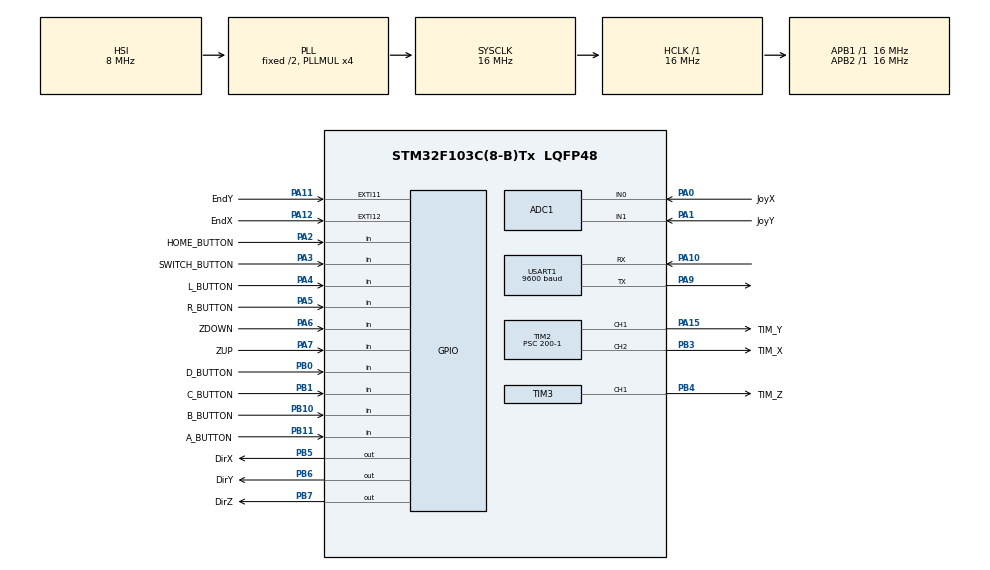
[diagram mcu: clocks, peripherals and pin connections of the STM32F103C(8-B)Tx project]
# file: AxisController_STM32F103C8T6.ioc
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ADC1.Channel-1\#ChannelRegularConversion=ADC_CHANNEL_0
ADC1.Channel-2\#ChannelRegularConversion=ADC_CHANNEL_1
ADC1.ContinuousConvMode=ENABLE
ADC1.DiscontinuousConvMode=DISABLE
ADC1.NbrOfConversion=2
ADC1.NbrOfConversionFlag=1
ADC1.Rank-1\#ChannelRegularConversion=1
ADC1.Rank-2\#ChannelRegularConversion=2
ADC1.SamplingTime-1\#ChannelRegularConversion=ADC_SAMPLETIME_55CYCLES_5
ADC1.SamplingTime-2\#ChannelRegularConversion=ADC_SAMPLETIME_55CYCLES_5
ADC1.master=1
Dma.ADC1.0.Direction=DMA_PERIPH_TO_MEMORY
Dma.ADC1.0.Instance=DMA1_Channel1
Dma.ADC1.0.MemDataAlignment=DMA_MDATAALIGN_HALFWORD
Dma.ADC1.0.MemInc=DMA_MINC_ENABLE
Dma.ADC1.0.Mode=DMA_CIRCULAR
Dma.ADC1.0.PeriphDataAlignment=DMA_PDATAALIGN_HALFWORD
Dma.ADC1.0.PeriphInc=DMA_PINC_DISABLE
Dma.ADC1.0.Priority=DMA_PRIORITY_LOW
Dma.Request0=ADC1
Mcu.Family=STM32F1
Mcu.Name=STM32F103C(8-B)Tx
Mcu.Package=LQFP48
NVIC.DMA1_Channel1_IRQn=true\:0\:0\:false\:false\:true\:false\:true\:true
NVIC.PriorityGroup=NVIC_PRIORITYGROUP_4
NVIC.TIM2_IRQn=true\:0\:0\:false\:false\:true\:true\:true\:true
NVIC.TIM3_IRQn=true\:0\:0\:false\:false\:true\:true\:true\:true
NVIC.USART1_IRQn=true\:0\:0\:false\:false\:true\:true\:true\:true
PA0-WKUP.GPIO_Label=JoyX
PA0-WKUP.Signal=ADCx_IN0
PA1.GPIO_Label=JoyY
PA1.Signal=ADCx_IN1
PA10.Mode=Asynchronous
PA10.Signal=USART1_RX
PA11.GPIO_Label=EndY
PA11.GPIO_PuPd=GPIO_PULLUP
PA11.Signal=GPXTI11
PA12.GPIO_Label=EndX
PA12.GPIO_PuPd=GPIO_PULLUP
PA12.Signal=GPXTI12
PA13.Mode=Serial_Wire
PA13.Signal=SYS_JTMS-SWDIO
PA14.Mode=Serial_Wire
PA14.Signal=SYS_JTCK-SWCLK
PA15.GPIO_Label=TIM_Y
PA15.Signal=S_TIM2_CH1_ETR
PA2.GPIO_Label=HOME_BUTTON
PA2.GPIO_PuPd=GPIO_PULLUP
PA2.Signal=GPIO_Input
PA3.GPIO_Label=SWITCH_BUTTON
PA3.GPIO_PuPd=GPIO_PULLUP
PA3.Signal=GPIO_Input
PA4.GPIO_Label=L_BUTTON
PA4.GPIO_PuPd=GPIO_PULLUP
PA4.Signal=GPIO_Input
PA5.GPIO_Label=R_BUTTON
PA5.GPIO_PuPd=GPIO_PULLUP
PA5.Signal=GPIO_Input
PA6.GPIO_Label=ZDOWN
PA6.GPIO_PuPd=GPIO_PULLUP
PA6.Signal=GPIO_Input
PA7.GPIO_Label=ZUP
PA7.GPIO_PuPd=GPIO_PULLUP
PA7.Signal=GPIO_Input
PA9.Mode=Asynchronous
PA9.Signal=USART1_TX
PB0.GPIO_Label=D_BUTTON
PB0.GPIO_PuPd=GPIO_PULLUP
PB0.Signal=GPIO_Input
PB1.GPIO_Label=C_BUTTON
PB1.GPIO_PuPd=GPIO_PULLUP
PB1.Signal=GPIO_Input
PB10.GPIO_Label=B_BUTTON
PB10.GPIO_PuPd=GPIO_PULLUP
PB10.Signal=GPIO_Input
PB11.GPIO_Label=A_BUTTON
PB11.GPIO_PuPd=GPIO_PULLUP
PB11.Signal=GPIO_Input
PB3.GPIO_Label=TIM_X
PB3.Signal=S_TIM2_CH2
PB4.GPIO_Label=TIM_Z
PB4.Signal=S_TIM3_CH1
PB5.GPIO_Label=DirX
PB5.Signal=GPIO_Output
PB6.GPIO_Label=DirY
PB6.Signal=GPIO_Output
PB7.GPIO_Label=DirZ
PB7.Signal=GPIO_Output
PD0-OSC_IN.Mode=HSE-External-Oscillator
PD0-OSC_IN.Signal=RCC_OSC_IN
PD1-OSC_OUT.Mode=HSE-External-Oscillator
PD1-OSC_OUT.Signal=RCC_OSC_OUT
ProjectManager.HeapSize=0x200
ProjectManager.StackSize=0x400
ProjectManager.TargetToolchain=STM32CubeIDE
RCC.AHBFreq_Value=16000000
RCC.APB1Freq_Value=16000000
RCC.APB1TimFreq_Value=16000000
RCC.APB2Freq_Value=16000000
RCC.APB2TimFreq_Value=16000000
RCC.HCLKFreq_Value=16000000
RCC.PLLMUL=RCC_PLL_MUL4
RCC.SYSCLKFreq_VALUE=16000000
RCC.SYSCLKSource=RCC_SYSCLKSOURCE_PLLCLK
RCC.USBFreq_Value=16000000
SH.ADCx_IN0.0=ADC1_IN0,IN0
SH.ADCx_IN1.0=ADC1_IN1,IN1
SH.S_TIM2_CH1_ETR.0=TIM2_CH1,PWM Generation1 CH1
SH.S_TIM2_CH2.0=TIM2_CH2,PWM Generation2 CH2
SH.S_TIM3_CH1.0=TIM3_CH1,PWM Generation1 CH1
TIM2.AutoReloadPreload=TIM_AUTORELOAD_PRELOAD_ENABLE
TIM2.Channel-PWM\ Generation1\ CH1=TIM_CHANNEL_1
TIM2.Channel-PWM\ Generation2\ CH2=TIM_CHANNEL_2
TIM2.Period=10-1
TIM2.Prescaler=200-1
TIM2.Pulse-PWM\ Generation1\ CH1=8-1
TIM2.Pulse-PWM\ Generation2\ CH2=8-1
TIM3.AutoReloadPreload=TIM_AUTORELOAD_PRELOAD_ENABLE
TIM3.Channel-PWM\ Generation1\ CH1=TIM_CHANNEL_1
TIM3.Period=10-1
TIM3.Prescaler=200-1
TIM3.Pulse-PWM\ Generation1\ CH1=8
USART1.BaudRate=9600
USART1.VirtualMode=VM_ASYNC
VP_TIM2_VS_ClockSourceINT.Mode=Internal
VP_TIM3_VS_ClockSourceINT.Mode=Internal
VP_TIM4_VS_ClockSourceINT.Mode=Internal
board=custom

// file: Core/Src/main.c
/* USER CODE BEGIN Header */
/*
 Code STM32 Dieu Khien 3 truc cua thay Trung

 ******************************************************************************
 */
/* USER CODE END Header */
#include "main.h"

/* USER CODE BEGIN Includes */
#include "Axis_v2.h"
#include "uart_handler.h"
#include "gcode_parser.h"
#include <string.h> // strstr
#include <stdlib.h> // atof
#include <stdio.h> // Required for sprintf
/* USER CODE END Includes */

/* USER CODE BEGIN PTD */
// Defines the main states of the machine
typedef enum {
	MACHINE_STATE_IDLE = 0, // Idle state, ready for any command
	MACHINE_STATE_BUSY = 1  // Busy state, executing a movement command
} MachineState_t;

// Defines identifiers for each button for debugging purposes
typedef enum {
	BUTTON_NONE,
	BUTTON_A,
	BUTTON_B,
	BUTTON_C,
	BUTTON_D,
	BUTTON_Z_UP,
	BUTTON_Z_DOWN,
	BUTTON_L,
	BUTTON_R,
	BUTTON_SWITCH_STOP,
} ButtonPressed_t;
/* USER CODE END PTD */

ADC_HandleTypeDef hadc1;
DMA_HandleTypeDef hdma_adc1;

TIM_HandleTypeDef htim2;
TIM_HandleTypeDef htim3;
TIM_HandleTypeDef htim4;

UART_HandleTypeDef huart1;

/* USER CODE BEGIN PV */
// Global variable for the machine's current state
volatile MachineState_t g_machineState = MACHINE_STATE_IDLE;

// ================== DEBUG VARIABLES ==================
// You can monitor these in the "Live Expressions" window of the IDE
int32_t dbg_pos_x = 0;
int32_t dbg_pos_y = 0;
int32_t dbg_pos_z = 0;
uint8_t dbg_x_is_busy = 0;
uint8_t dbg_y_is_busy = 0;
uint8_t dbg_z_is_busy = 0;
uint8_t dbg_code = 0;  // A general-purpose code for tracking execution flow

//Tracking Button Pressed
volatile ButtonPressed_t g_lastButtonPressed = BUTTON_NONE;

// ================== JOYSTICK VARIABLES ==================
uint16_t rawX, rawY;

/* USER CODE END PV */

void SystemClock_Config(void);
static void MX_GPIO_Init(void);
static void MX_DMA_Init(void);
static void MX_TIM2_Init(void);
static void MX_TIM3_Init(void);
static void MX_ADC1_Init(void);
static void MX_TIM4_Init(void);
static void MX_USART1_UART_Init(void);

/* USER CODE BEGIN 0 */
// ================== AXIS DECLARATIONS ==================
Axis_t axisX, axisY, axisZ;
// ================== PRESET POSITIONS ==================
typedef struct {
	int32_t x, y, z;
} Position_t;

Position_t posA = { 1000, 2000, -9999 };
Position_t posB = { 2000, 1000, -9999 };
Position_t posC = { 1500, 1500, -9999 };
Position_t posD = { 0, 0, -9999 };

uint32_t freq_FreeMoving = 800; // Frequency to move around
uint32_t freq_Z = 20000; // Frequency Z
// ================== HELP FUNCTION ==================
/**
 * @brief  Reads the state of a button (assumes active low).
 * @param  port: GPIO port of the button.
 * @param  pin: GPIO pin of the button.
 * @retval 1 if pressed, 0 if not pressed.
 */
static inline uint8_t ReadButton(GPIO_TypeDef *port, uint16_t pin) {
	return (HAL_GPIO_ReadPin(port, pin) == GPIO_PIN_RESET);
}

/**
 * @brief  Plans and starts a move to a preset position.
 * @param  pos: Pointer to the target position struct.
 */
void Axis_GotoPosition(Position_t *pos) {
	Axis_RunToPosConst(&axisX, pos->x);
	Axis_RunToPosConst(&axisY, pos->y);
	int32_t pos_z_temp = axisZ.current_pos_pulse;
	// Special value -9999 means "do not move Z axis"
	if (pos->z == -9999) {
		Axis_RunToPosConst(&axisZ, pos_z_temp);
	} else {
		Axis_RunToPosConst(&axisZ, pos->z);
	}
	Axis_StartAxisConst(&axisX);
	Axis_StartAxisConst(&axisY);
	Axis_StartAxisConst(&axisZ);
}

// ================== JOYSTICK SUPPORT ==================
#define JOY_DEADZONE 400
#define JOY_MAX_VALUE 4095
#define JOY_CENTER    (JOY_MAX_VALUE/2 )

/**
 * @brief  Reads a single ADC channel using polling mode.
 * @param  channel: The ADC channel to read (e.g., ADC_CHANNEL_0).
 * @retval The 12-bit raw ADC value.
 */
uint16_t ADC_ReadChannel(uint32_t channel) {
	ADC_ChannelConfTypeDef sConfig = { 0 };
	sConfig.Channel = channel;
	sConfig.Rank = ADC_REGULAR_RANK_1;
	sConfig.SamplingTime = ADC_SAMPLETIME_28CYCLES_5;
	HAL_ADC_ConfigChannel(&hadc1, &sConfig);

	HAL_ADC_Start(&hadc1);
	HAL_ADC_PollForConversion(&hadc1, HAL_MAX_DELAY);
	uint16_t value = HAL_ADC_GetValue(&hadc1);
	HAL_ADC_Stop(&hadc1);
	return value;
}

/**
 * @brief  Scales the raw ADC value for the X-axis to a -100 to 100 range.
 * @param  raw: The raw 12-bit ADC value.
 * @retval Scaled value from -100 to 100.
 */
int16_t Joystick_ScaleX(uint16_t raw) {
	int32_t diff = (int32_t) raw - JOY_CENTER;

	if (diff > -JOY_DEADZONE && diff < JOY_DEADZONE)
		return 0;

	int16_t scaled = (diff * 100) / (JOY_CENTER - JOY_DEADZONE);
	if (scaled > 100)
		scaled = 100;
	if (scaled < -100)
		scaled = -100;
	return scaled;
}

/**
 * @brief  Scales the raw ADC value for the Y-axis to a -100 to 100 range.
 * @param  raw: The raw 12-bit ADC value.
 * @retval Scaled value from -100 to 100.
 */
int16_t Joystick_ScaleY(uint16_t raw) {
	int32_t diff = (int32_t) raw - JOY_CENTER;

	if (diff > -JOY_DEADZONE && diff < JOY_DEADZONE)
		return 0;

	int16_t scaled = (diff * 100) / (JOY_CENTER - JOY_DEADZONE);
	if (scaled > 100)
		scaled = 100;
	if (scaled < -100)
		scaled = -100;
	return scaled;
}

/**
 * @brief  Processes joystick input to move the X and Y axes.
 * @param  rawX: The raw 12-bit ADC value for the X-axis.
 * @param  rawY: The raw 12-bit ADC value for the Y-axis.
 */
void HandleJoystick(uint16_t rawX, uint16_t rawY) {
	int16_t joyX_scaled = Joystick_ScaleX(rawX);
	int16_t joyY_scaled = Joystick_ScaleY(rawY);

	// Handle X-axis movement
	if (joyX_scaled != 0) {
		if (!Axis_IsBusy(&axisX)) {
			// Move a small distance. The direction depends on the joystick sign.
			int32_t dist = (joyX_scaled > 0) ? -100 : 100; // Inverted due to axis setup
			Axis_RunPosConst(&axisX, dist);
			Axis_StartAxisConst(&axisX);
		}
	}

	// Handle Y-axis movement
	if (joyY_scaled != 0) {
		if (!Axis_IsBusy(&axisY)) {
			int32_t dist = (joyY_scaled > 0) ? 100 : -100;
			Axis_RunPosConst(&axisY, dist);
			Axis_StartAxisConst(&axisY);
		}
	}
}

/**
 * @brief  Processes input from manual control buttons (A,B,C,D,Z, L, R, Stop).
 */
void HandleManualButtons(void) {
	if (ReadButton(A_BUTTON_GPIO_Port, A_BUTTON_Pin))
		Axis_GotoPosition(&posA);
	if (ReadButton(B_BUTTON_GPIO_Port, B_BUTTON_Pin))
		Axis_GotoPosition(&posB);
	if (ReadButton(C_BUTTON_GPIO_Port, C_BUTTON_Pin))
		Axis_GotoPosition(&posC);
	if (ReadButton(D_BUTTON_GPIO_Port, D_BUTTON_Pin))
		Axis_GotoPosition(&posD);

	// Z-axis up/down
	if (ReadButton(ZUP_GPIO_Port, ZUP_Pin)) {
		g_lastButtonPressed = BUTTON_Z_UP;
		if (!Axis_IsBusy(&axisZ)) {
			Axis_RunPosConst(&axisZ, +50);
			Axis_StartAxisConst(&axisZ);
		}
	} else if (ReadButton(ZDOWN_GPIO_Port, ZDOWN_Pin)) {
		g_lastButtonPressed = BUTTON_Z_DOWN;
		if (!Axis_IsBusy(&axisZ)) {
			Axis_RunPosConst(&axisZ, -50);
			Axis_StartAxisConst(&axisZ);
		}
	}

	// X-axis left/right
	if (ReadButton(L_BUTTON_GPIO_Port, L_BUTTON_Pin)) {
		g_lastButtonPressed = BUTTON_L;
		if (!Axis_IsBusy(&axisX)) {
			Axis_RunPosConst(&axisX, -100);
			Axis_StartAxisConst(&axisX);
		}
	} else if (ReadButton(R_BUTTON_GPIO_Port, R_BUTTON_Pin)) {
		g_lastButtonPressed = BUTTON_R;
		if (!Axis_IsBusy(&axisX)) {
			Axis_RunPosConst(&axisX, +100);
			Axis_StartAxisConst(&axisX);
		}
	}

	// Stop button
	if (ReadButton(SWITCH_BUTTON_GPIO_Port, SWITCH_BUTTON_Pin)) {
		g_lastButtonPressed = BUTTON_SWITCH_STOP;
		Axis_Stop(&axisX);
		Axis_Stop(&axisY);
		Axis_Stop(&axisZ);
		g_machineState = MACHINE_STATE_IDLE;
	}
}

/**
 * @brief  Parses and executes a "SET" command to update preset positions.
 * @param  line: The command line received from UART.
 * @retval true if the line was a SET command, false otherwise.
 */
bool Parse_SetCommand(const char *line) {
	if (strncmp(line, "SET", 3) != 0) {
		return false;
	}

	Position_t *target_pos = NULL;
	const char *ptr = line + 4; // Skip "SET "

	if (*ptr == 'A')
		target_pos = &posA;
	else if (*ptr == 'B')
		target_pos = &posB;
	else if (*ptr == 'C')
		target_pos = &posC;
	else if (*ptr == 'D')
		target_pos = &posD;
	else {
		UART_Transmit("Error: Invalid position name.\r\n");
		return true; // It was a SET command, but it failed.
	}

	char *coord_ptr;
	if ((coord_ptr = strstr(ptr, "X"))) {
		target_pos->x = (float) (atof(coord_ptr + 1) * axisX.pulse_per_mm);
	}
	if ((coord_ptr = strstr(ptr, "Y"))) {
		target_pos->y = (float) (atof(coord_ptr + 1) * axisY.pulse_per_mm);
	}
	if ((coord_ptr = strstr(ptr, "Z"))) {
		target_pos->z = (float) (atof(coord_ptr + 1) * axisZ.pulse_per_mm);
	}

	UART_Transmit("Position set OK\r\n");
	return true;
}

/**
 * @brief  Parses and executes a "GOTO" command to Move to a point.
 * @param  line: The command line received from UART.
 * @retval true if the line was a GOTO command, false otherwise.
 */
bool Parse_GotoCommand(const char *line) {
	if (strncmp(line, "GOTO", 4) != 0) {
		return false;
	}
	const char *ptr = line + 5; // Skip "GOTO "
	if (*ptr == 'A')
		Axis_GotoPosition(&posA);
	else if (*ptr == 'B')
		Axis_GotoPosition(&posB);
	else if (*ptr == 'C')
		Axis_GotoPosition(&posC);
	else if (*ptr == 'D')
		Axis_GotoPosition(&posD);
	else {
		UART_Transmit("Error: Invalid Go To Position.\r\n");
		return true; // It was a Go To command, but it failed.
	}
	UART_Transmit("Go TO Position OK\r\n");
	return true;
}

/**
 * @brief  Formats and sends the current machine status (state and position) over UART.
 * This mimics the real-time DRO (Digital Read-Out) of systems like Mach3/GRBL.
 */
void Send_StatusReport(void) {
	// A buffer to hold the formatted status string. 128 bytes is safe.
	char status_buffer[128];

	// Convert the current pulse positions to millimeters (float)
	float pos_x_mm = Axis_GetCurrentPositionMM(&axisX);
	float pos_y_mm = Axis_GetCurrentPositionMM(&axisY);
	float pos_z_mm = Axis_GetCurrentPositionMM(&axisZ);

	// Determine the current state string based on the state machine
	const char *state_str = "Idle";
	if (g_machineState == MACHINE_STATE_BUSY) {
		state_str = "Run";
	}
	// Format the string into a GRBL-like status report: <State|WPos:X,Y,Z>
	// %.3f formats the float to 3 decimal places.
	sprintf(status_buffer, "<%s|WPos:%.3f,%.3f,%.3f>\r\n", state_str, pos_x_mm,
			pos_y_mm, pos_z_mm);

	// Transmit the final string
	UART_Transmit(status_buffer);
}

// ================== CALLBACK ==================
void HAL_TIM_PWM_PulseFinishedCallback(TIM_HandleTypeDef *htim) {
	Axis_TIM_PWM_PulseFinishedCallback_Const(htim);

}
void HAL_UART_RxCpltCallback(UART_HandleTypeDef *huart) {
	if (huart->Instance == USART1) {
		UART_Receive_Callback();
	}
}
/* USER CODE END 0 */

int main(void) {

	/* MCU Configuration--------------------------------------------------------*/

	/* Reset of all peripherals, Initializes the Flash interface and the Systick. */
	HAL_Init();

	/* Configure the system clock */
	SystemClock_Config();

	/* Initialize all configured peripherals */
	MX_GPIO_Init();
	MX_DMA_Init();
	MX_TIM2_Init();
	MX_TIM3_Init();
	MX_ADC1_Init();
	MX_TIM4_Init();
	MX_USART1_UART_Init();
	/* USER CODE BEGIN 2 */
	UART_Init(&huart1);
	// cấu hình trục
	axisX.GPIOx_Dir = DirX_GPIO_Port;
	axisX.GPIO_Pin_Dir = DirX_Pin;
	axisX.htim_Pul = &htim2;
	axisX.Channel_Pul = TIM_CHANNEL_2;
	axisX.pulse_per_mm = 20000;
	axisX.invert_dir = 1;
	axisX.frequency_max = 20000;
	axisX.frequency_min = 100;

	axisY.GPIOx_Dir = DirY_GPIO_Port;
	axisY.GPIO_Pin_Dir = DirY_Pin;
	axisY.htim_Pul = &htim2;
	axisY.Channel_Pul = TIM_CHANNEL_1;
	axisY.pulse_per_mm = 20000;
	axisY.invert_dir = 1;
	axisY.frequency_max = 20000;
	axisY.frequency_min = 100;

	axisZ.GPIOx_Dir = DirZ_GPIO_Port;
	axisZ.GPIO_Pin_Dir = DirZ_Pin;
	axisZ.htim_Pul = &htim3;
	axisZ.Channel_Pul = TIM_CHANNEL_1;
	axisZ.pulse_per_mm = 12800;
	axisZ.invert_dir = 1;
	axisZ.frequency_max = 20000;
	axisZ.frequency_min = 100;

//      // Axis_Init(&axis_struct, DIR_Port, DIR_Pin, TIM_Handle, TIM_Channel, freq_min, freq_max, pulse_per_mm, invert_dir);
//      Axis_Init(&axisX, axisX.irX_GPIO_Port, DirX_Pin, &htim2, TIM_CHANNEL_2, 100, 20000, 20000, 0);
//      Axis_Init(&axisY, DirY_GPIO_Port, DirY_Pin, &htim2, TIM_CHANNEL_1, 100, 20000, 20000, 0);
//      Axis_Init(&axisZ, DirZ_GPIO_Port, DirZ_Pin, &htim3, TIM_CHANNEL_1, 100, 10000, 12800, 0);
	// Set default running frequency for all axes
	Axis_SetFrequencyHz(&axisX, 2800);
	Axis_SetFrequencyHz(&axisY, 2800);
	Axis_SetFrequencyHz(&axisZ, 20000);

	// *** REGISTER THE AXES! ***
	Axis_Register(&axisX);
	Axis_Register(&axisY);
	Axis_Register(&axisZ);

	// Timer for periodic status reporting
	static uint32_t last_status_report_tick = 0;
	// Timer for periodic joystick reading
	static uint32_t last_joystick_read_tick = 0;
	/* USER CODE END 2 */

	/* Infinite loop */
	while (1) {

		/* USER CODE BEGIN 3 */
		uint32_t current_tick = HAL_GetTick();
		g_lastButtonPressed = BUTTON_NONE;
		switch (g_machineState) {

		case MACHINE_STATE_IDLE:
			// Priority 1: Check for commands from UART
			if (UART_IsNewLineReady()) {
				char command_line[RX_BUFFER_SIZE];
				UART_GetLine(command_line);

				// Check for special "SET" command first
				if (Parse_SetCommand(command_line)) {
					// Command was handled, do nothing else.
				} else if (Parse_GotoCommand(command_line)) {
					// Check for special "GOTO" command first

				}
				// Otherwise, treat it as a G-code command
				else {
					GCode_Command_t cmd;
					if (GCode_ParseLine(command_line, &cmd)) {
						GCode_ExecuteCommand(&cmd, &axisX, &axisY, &axisZ);
						g_machineState = MACHINE_STATE_BUSY; // Switch to busy state
					}
				}
			}
			// Priority 2: Handle manual controls if no UART command
			else {
				// Read joystick periodically (every 100ms) to reduce CPU load
				if (current_tick - last_joystick_read_tick >= 100) {
					rawX = ADC_ReadChannel(ADC_CHANNEL_0);
					rawY = ADC_ReadChannel(ADC_CHANNEL_1);
					HandleJoystick(rawX, rawY);
					last_joystick_read_tick = current_tick;
				}

				// Buttons can be checked every loop cycle
				HandleManualButtons();
			}
			break;

		case MACHINE_STATE_BUSY:
			// While busy, only check if all movements are complete
			if (!Axis_IsBusy(&axisX) && !Axis_IsBusy(&axisY)
					&& !Axis_IsBusy(&axisZ)) {
				g_machineState = MACHINE_STATE_IDLE; // Return to idle state
			}
			break;
		}

		// Update debug variables at the end of each loop
		dbg_pos_x = Axis_GetCurrentPositionPulse(&axisX);
		dbg_pos_y = Axis_GetCurrentPositionPulse(&axisY);
		dbg_pos_z = Axis_GetCurrentPositionPulse(&axisZ);
		dbg_x_is_busy = Axis_IsBusy(&axisX);
		dbg_y_is_busy = Axis_IsBusy(&axisY);
		dbg_z_is_busy = Axis_IsBusy(&axisZ);
		// --- Periodic Status Reporting (like Mach3 DRO) ---
		// It sends a position update every 200 milliseconds.
		if (current_tick - last_status_report_tick >= 200) {
			Send_StatusReport();
			last_status_report_tick = current_tick;
		}
	}
	/* USER CODE END 3 */
}

void SystemClock_Config(void) {
	RCC_OscInitTypeDef RCC_OscInitStruct = { 0 };
	RCC_ClkInitTypeDef RCC_ClkInitStruct = { 0 };
	RCC_PeriphCLKInitTypeDef PeriphClkInit = { 0 };

	/** Initializes the RCC Oscillators according to the specified parameters
	 * in the RCC_OscInitTypeDef structure.
	 */
	RCC_OscInitStruct.OscillatorType = RCC_OSCILLATORTYPE_HSI;
	RCC_OscInitStruct.HSIState = RCC_HSI_ON;
	RCC_OscInitStruct.HSICalibrationValue = RCC_HSICALIBRATION_DEFAULT;
	RCC_OscInitStruct.PLL.PLLState = RCC_PLL_ON;
	RCC_OscInitStruct.PLL.PLLSource = RCC_PLLSOURCE_HSI_DIV2;
	RCC_OscInitStruct.PLL.PLLMUL = RCC_PLL_MUL4;
	if (HAL_RCC_OscConfig(&RCC_OscInitStruct) != HAL_OK) {
		Error_Handler();
	}

	/** Initializes the CPU, AHB and APB buses clocks
	 */
	RCC_ClkInitStruct.ClockType = RCC_CLOCKTYPE_HCLK | RCC_CLOCKTYPE_SYSCLK
			| RCC_CLOCKTYPE_PCLK1 | RCC_CLOCKTYPE_PCLK2;
	RCC_ClkInitStruct.SYSCLKSource = RCC_SYSCLKSOURCE_PLLCLK;
	RCC_ClkInitStruct.AHBCLKDivider = RCC_SYSCLK_DIV1;
	RCC_ClkInitStruct.APB1CLKDivider = RCC_HCLK_DIV1;
	RCC_ClkInitStruct.APB2CLKDivider = RCC_HCLK_DIV1;

	if (HAL_RCC_ClockConfig(&RCC_ClkInitStruct, FLASH_LATENCY_0) != HAL_OK) {
		Error_Handler();
	}
	PeriphClkInit.PeriphClockSelection = RCC_PERIPHCLK_ADC;
	PeriphClkInit.AdcClockSelection = RCC_ADCPCLK2_DIV2;
	if (HAL_RCCEx_PeriphCLKConfig(&PeriphClkInit) != HAL_OK) {
		Error_Handler();
	}
}

static void MX_ADC1_Init(void) {

	ADC_ChannelConfTypeDef sConfig = { 0 };

	/** Common config
	 */
	hadc1.Instance = ADC1;
	hadc1.Init.ScanConvMode = ADC_SCAN_ENABLE;
	hadc1.Init.ContinuousConvMode = ENABLE;
	hadc1.Init.DiscontinuousConvMode = DISABLE;
	hadc1.Init.ExternalTrigConv = ADC_SOFTWARE_START;
	hadc1.Init.DataAlign = ADC_DATAALIGN_RIGHT;
	hadc1.Init.NbrOfConversion = 2;
	if (HAL_ADC_Init(&hadc1) != HAL_OK) {
		Error_Handler();
	}

	/** Configure Regular Channel
	 */
	sConfig.Channel = ADC_CHANNEL_0;
	sConfig.Rank = ADC_REGULAR_RANK_1;
	sConfig.SamplingTime = ADC_SAMPLETIME_55CYCLES_5;
	if (HAL_ADC_ConfigChannel(&hadc1, &sConfig) != HAL_OK) {
		Error_Handler();
	}

	/** Configure Regular Channel
	 */
	sConfig.Channel = ADC_CHANNEL_1;
	sConfig.Rank = ADC_REGULAR_RANK_2;
	if (HAL_ADC_ConfigChannel(&hadc1, &sConfig) != HAL_OK) {
		Error_Handler();
	}

}

static void MX_TIM2_Init(void) {

	TIM_ClockConfigTypeDef sClockSourceConfig = { 0 };
	TIM_MasterConfigTypeDef sMasterConfig = { 0 };
	TIM_OC_InitTypeDef sConfigOC = { 0 };

	htim2.Instance = TIM2;
	htim2.Init.Prescaler = 200 - 1;
	htim2.Init.CounterMode = TIM_COUNTERMODE_UP;
	htim2.Init.Period = 10 - 1;
	htim2.Init.ClockDivision = TIM_CLOCKDIVISION_DIV1;
	htim2.Init.AutoReloadPreload = TIM_AUTORELOAD_PRELOAD_ENABLE;
	if (HAL_TIM_Base_Init(&htim2) != HAL_OK) {
		Error_Handler();
	}
	sClockSourceConfig.ClockSource = TIM_CLOCKSOURCE_INTERNAL;
	if (HAL_TIM_ConfigClockSource(&htim2, &sClockSourceConfig) != HAL_OK) {
		Error_Handler();
	}
	if (HAL_TIM_PWM_Init(&htim2) != HAL_OK) {
		Error_Handler();
	}
	sMasterConfig.MasterOutputTrigger = TIM_TRGO_RESET;
	sMasterConfig.MasterSlaveMode = TIM_MASTERSLAVEMODE_DISABLE;
	if (HAL_TIMEx_MasterConfigSynchronization(&htim2, &sMasterConfig)
			!= HAL_OK) {
		Error_Handler();
	}
	sConfigOC.OCMode = TIM_OCMODE_PWM1;
	sConfigOC.Pulse = 8 - 1;
	sConfigOC.OCPolarity = TIM_OCPOLARITY_HIGH;
	sConfigOC.OCFastMode = TIM_OCFAST_DISABLE;
	if (HAL_TIM_PWM_ConfigChannel(&htim2, &sConfigOC, TIM_CHANNEL_1)
			!= HAL_OK) {
		Error_Handler();
	}
	if (HAL_TIM_PWM_ConfigChannel(&htim2, &sConfigOC, TIM_CHANNEL_2)
			!= HAL_OK) {
		Error_Handler();
	}
	HAL_TIM_MspPostInit(&htim2);

}

static void MX_TIM3_Init(void) {

	TIM_ClockConfigTypeDef sClockSourceConfig = { 0 };
	TIM_MasterConfigTypeDef sMasterConfig = { 0 };
	TIM_OC_InitTypeDef sConfigOC = { 0 };

	htim3.Instance = TIM3;
	htim3.Init.Prescaler = 200 - 1;
	htim3.Init.CounterMode = TIM_COUNTERMODE_UP;
	htim3.Init.Period = 10 - 1;
	htim3.Init.ClockDivision = TIM_CLOCKDIVISION_DIV1;
	htim3.Init.AutoReloadPreload = TIM_AUTORELOAD_PRELOAD_ENABLE;
	if (HAL_TIM_Base_Init(&htim3) != HAL_OK) {
		Error_Handler();
	}
	sClockSourceConfig.ClockSource = TIM_CLOCKSOURCE_INTERNAL;
	if (HAL_TIM_ConfigClockSource(&htim3, &sClockSourceConfig) != HAL_OK) {
		Error_Handler();
	}
	if (HAL_TIM_PWM_Init(&htim3) != HAL_OK) {
		Error_Handler();
	}
	sMasterConfig.MasterOutputTrigger = TIM_TRGO_RESET;
	sMasterConfig.MasterSlaveMode = TIM_MASTERSLAVEMODE_DISABLE;
	if (HAL_TIMEx_MasterConfigSynchronization(&htim3, &sMasterConfig)
			!= HAL_OK) {
		Error_Handler();
	}
	sConfigOC.OCMode = TIM_OCMODE_PWM1;
	sConfigOC.Pulse = 8;
	sConfigOC.OCPolarity = TIM_OCPOLARITY_HIGH;
	sConfigOC.OCFastMode = TIM_OCFAST_DISABLE;
	if (HAL_TIM_PWM_ConfigChannel(&htim3, &sConfigOC, TIM_CHANNEL_1)
			!= HAL_OK) {
		Error_Handler();
	}
	HAL_TIM_MspPostInit(&htim3);

}

static void MX_TIM4_Init(void) {

	TIM_ClockConfigTypeDef sClockSourceConfig = { 0 };
	TIM_MasterConfigTypeDef sMasterConfig = { 0 };

	htim4.Instance = TIM4;
	htim4.Init.Prescaler = 0;
	htim4.Init.CounterMode = TIM_COUNTERMODE_UP;
	htim4.Init.Period = 65535;
	htim4.Init.ClockDivision = TIM_CLOCKDIVISION_DIV1;
	htim4.Init.AutoReloadPreload = TIM_AUTORELOAD_PRELOAD_DISABLE;
	if (HAL_TIM_Base_Init(&htim4) != HAL_OK) {
		Error_Handler();
	}
	sClockSourceConfig.ClockSource = TIM_CLOCKSOURCE_INTERNAL;
	if (HAL_TIM_ConfigClockSource(&htim4, &sClockSourceConfig) != HAL_OK) {
		Error_Handler();
	}
	sMasterConfig.MasterOutputTrigger = TIM_TRGO_RESET;
	sMasterConfig.MasterSlaveMode = TIM_MASTERSLAVEMODE_DISABLE;
	if (HAL_TIMEx_MasterConfigSynchronization(&htim4, &sMasterConfig)
			!= HAL_OK) {
		Error_Handler();
	}

}

static void MX_USART1_UART_Init(void) {

	huart1.Instance = USART1;
	huart1.Init.BaudRate = 9600;
	huart1.Init.WordLength = UART_WORDLENGTH_8B;
	huart1.Init.StopBits = UART_STOPBITS_1;
	huart1.Init.Parity = UART_PARITY_NONE;
	huart1.Init.Mode = UART_MODE_TX_RX;
	huart1.Init.HwFlowCtl = UART_HWCONTROL_NONE;
	huart1.Init.OverSampling = UART_OVERSAMPLING_16;
	if (HAL_UART_Init(&huart1) != HAL_OK) {
		Error_Handler();
	}

}

static void MX_DMA_Init(void) {

	/* DMA controller clock enable */
	__HAL_RCC_DMA1_CLK_ENABLE();

	/* DMA interrupt init */
	/* DMA1_Channel1_IRQn interrupt configuration */
	HAL_NVIC_SetPriority(DMA1_Channel1_IRQn, 0, 0);
	HAL_NVIC_EnableIRQ(DMA1_Channel1_IRQn);

}

static void MX_GPIO_Init(void) {
	GPIO_InitTypeDef GPIO_InitStruct = { 0 };

	/* GPIO Ports Clock Enable */
	__HAL_RCC_GPIOD_CLK_ENABLE();
	__HAL_RCC_GPIOA_CLK_ENABLE();
	__HAL_RCC_GPIOB_CLK_ENABLE();

	/*Configure GPIO pin Output Level */
	HAL_GPIO_WritePin(GPIOB, DirX_Pin | DirY_Pin | DirZ_Pin, GPIO_PIN_RESET);

	/*Configure GPIO pins : HOME_BUTTON_Pin SWITCH_BUTTON_Pin L_BUTTON_Pin R_BUTTON_Pin
	 ZDOWN_Pin ZUP_Pin */
	GPIO_InitStruct.Pin = HOME_BUTTON_Pin | SWITCH_BUTTON_Pin | L_BUTTON_Pin
			| R_BUTTON_Pin | ZDOWN_Pin | ZUP_Pin;
	GPIO_InitStruct.Mode = GPIO_MODE_INPUT;
	GPIO_InitStruct.Pull = GPIO_PULLUP;
	HAL_GPIO_Init(GPIOA, &GPIO_InitStruct);

	/*Configure GPIO pins : D_BUTTON_Pin C_BUTTON_Pin B_BUTTON_Pin A_BUTTON_Pin */
	GPIO_InitStruct.Pin = D_BUTTON_Pin | C_BUTTON_Pin | B_BUTTON_Pin
			| A_BUTTON_Pin;
	GPIO_InitStruct.Mode = GPIO_MODE_INPUT;
	GPIO_InitStruct.Pull = GPIO_PULLUP;
	HAL_GPIO_Init(GPIOB, &GPIO_InitStruct);

	/*Configure GPIO pins : EndY_Pin EndX_Pin */
	GPIO_InitStruct.Pin = EndY_Pin | EndX_Pin;
	GPIO_InitStruct.Mode = GPIO_MODE_IT_RISING;
	GPIO_InitStruct.Pull = GPIO_PULLUP;
	HAL_GPIO_Init(GPIOA, &GPIO_InitStruct);

	/*Configure GPIO pins : DirX_Pin DirY_Pin DirZ_Pin */
	GPIO_InitStruct.Pin = DirX_Pin | DirY_Pin | DirZ_Pin;
	GPIO_InitStruct.Mode = GPIO_MODE_OUTPUT_PP;
	GPIO_InitStruct.Pull = GPIO_NOPULL;
	GPIO_InitStruct.Speed = GPIO_SPEED_FREQ_LOW;
	HAL_GPIO_Init(GPIOB, &GPIO_InitStruct);

}

void Error_Handler(void) {
	__disable_irq();
	while (1) {
	}
}
